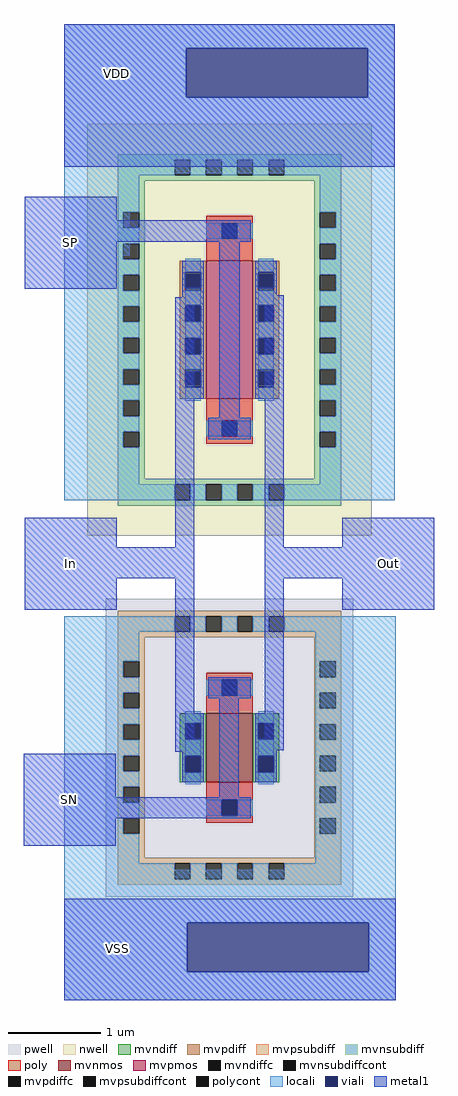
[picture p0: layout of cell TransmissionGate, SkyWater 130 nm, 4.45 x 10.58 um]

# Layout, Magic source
magic
tech sky130B
magscale 1 2
<< locali >>
rect 214 2483 930 2536
rect 214 2377 478 2483
rect 872 2377 930 2483
rect 214 2212 930 2377
rect 214 2156 342 2212
rect 214 2034 356 2156
rect 214 1504 342 2034
rect 802 1504 930 2212
rect 214 702 342 1252
rect 758 702 932 1252
rect 214 587 932 702
rect 214 481 480 587
rect 874 481 932 587
rect 214 420 932 481
<< viali >>
rect 478 2377 872 2483
rect 480 481 874 587
<< metal1 >>
rect 214 2483 930 2536
rect 214 2377 478 2483
rect 872 2377 930 2483
rect 214 2226 930 2377
rect 128 2110 328 2162
rect 128 2064 602 2110
rect 128 1962 328 2064
rect 128 1402 328 1466
rect 454 1402 496 1944
rect 550 1640 594 2064
rect 128 1334 496 1402
rect 128 1266 328 1334
rect 454 958 496 1334
rect 648 1402 690 1948
rect 816 1402 1016 1466
rect 648 1334 1016 1402
rect 126 860 326 954
rect 550 860 592 1112
rect 648 962 690 1334
rect 816 1266 1016 1334
rect 126 814 544 860
rect 126 754 326 814
rect 214 587 932 640
rect 214 481 480 587
rect 874 481 932 587
rect 214 420 932 481
use sky130_fd_pr__nfet_g5v0d10v5_6XHARQ  XM1
transform 1 0 572 0 1 967
box -268 -323 268 323
use sky130_fd_pr__pfet_g5v0d10v5_7EBZY6  XM2
transform 1 0 572 0 1 1873
box -308 -447 308 447
<< labels >>
flabel metal1 s 128 1962 328 2162 0 FreeSans 320 0 0 0 SP
port 1 nsew
flabel metal1 s 228 2328 428 2528 0 FreeSans 320 0 0 0 VDD
port 2 nsew
flabel metal1 s 816 1266 1016 1466 0 FreeSans 320 0 0 0 Out
port 3 nsew
flabel metal1 s 128 1266 328 1466 0 FreeSans 320 0 0 0 In
port 4 nsew
flabel metal1 s 230 432 430 632 0 FreeSans 320 0 0 0 VSS
port 5 nsew
flabel metal1 s 126 754 326 954 0 FreeSans 320 0 0 0 SN
port 6 nsew
<< end >>

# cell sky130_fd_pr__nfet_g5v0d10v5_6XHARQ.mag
magic
tech sky130B
magscale 1 2
<< pwell >>
rect -268 -323 268 323
<< mvnmos >>
rect -50 -75 50 75
<< mvndiff >>
rect -108 51 -50 75
rect -108 17 -96 51
rect -62 17 -50 51
rect -108 -17 -50 17
rect -108 -51 -96 -17
rect -62 -51 -50 -17
rect -108 -75 -50 -51
rect 50 51 108 75
rect 50 17 62 51
rect 96 17 108 51
rect 50 -17 108 17
rect 50 -51 62 -17
rect 96 -51 108 -17
rect 50 -75 108 -51
<< mvndiffc >>
rect -96 17 -62 51
rect -96 -51 -62 -17
rect 62 17 96 51
rect 62 -51 96 -17
<< mvpsubdiff >>
rect -242 285 242 297
rect -242 251 -119 285
rect -85 251 -51 285
rect -17 251 17 285
rect 51 251 85 285
rect 119 251 242 285
rect -242 239 242 251
rect -242 187 -184 239
rect -242 153 -230 187
rect -196 153 -184 187
rect 184 187 242 239
rect -242 119 -184 153
rect -242 85 -230 119
rect -196 85 -184 119
rect -242 51 -184 85
rect 184 153 196 187
rect 230 153 242 187
rect 184 119 242 153
rect 184 85 196 119
rect 230 85 242 119
rect -242 17 -230 51
rect -196 17 -184 51
rect -242 -17 -184 17
rect -242 -51 -230 -17
rect -196 -51 -184 -17
rect -242 -85 -184 -51
rect 184 51 242 85
rect 184 17 196 51
rect 230 17 242 51
rect 184 -17 242 17
rect 184 -51 196 -17
rect 230 -51 242 -17
rect -242 -119 -230 -85
rect -196 -119 -184 -85
rect -242 -153 -184 -119
rect -242 -187 -230 -153
rect -196 -187 -184 -153
rect 184 -85 242 -51
rect 184 -119 196 -85
rect 230 -119 242 -85
rect 184 -153 242 -119
rect -242 -239 -184 -187
rect 184 -187 196 -153
rect 230 -187 242 -153
rect 184 -239 242 -187
rect -242 -251 242 -239
rect -242 -285 -119 -251
rect -85 -285 -51 -251
rect -17 -285 17 -251
rect 51 -285 85 -251
rect 119 -285 242 -251
rect -242 -297 242 -285
<< mvpsubdiffcont >>
rect -119 251 -85 285
rect -51 251 -17 285
rect 17 251 51 285
rect 85 251 119 285
rect -230 153 -196 187
rect -230 85 -196 119
rect 196 153 230 187
rect 196 85 230 119
rect -230 17 -196 51
rect -230 -51 -196 -17
rect 196 17 230 51
rect 196 -51 230 -17
rect -230 -119 -196 -85
rect -230 -187 -196 -153
rect 196 -119 230 -85
rect 196 -187 230 -153
rect -119 -285 -85 -251
rect -51 -285 -17 -251
rect 17 -285 51 -251
rect 85 -285 119 -251
<< poly >>
rect -50 147 50 163
rect -50 113 -17 147
rect 17 113 50 147
rect -50 75 50 113
rect -50 -113 50 -75
rect -50 -147 -17 -113
rect 17 -147 50 -113
rect -50 -163 50 -147
<< polycont >>
rect -17 113 17 147
rect -17 -147 17 -113
<< locali >>
rect -230 251 -119 285
rect -85 251 -51 285
rect -17 251 17 285
rect 51 251 85 285
rect 119 251 230 285
rect -230 187 -196 251
rect -230 119 -196 153
rect 196 187 230 251
rect -50 113 -17 147
rect 17 113 50 147
rect 196 119 230 153
rect -230 51 -196 85
rect -230 -17 -196 17
rect -230 -85 -196 -51
rect -96 53 -62 79
rect -96 -17 -62 17
rect -96 -79 -62 -53
rect 62 53 96 79
rect 62 -17 96 17
rect 62 -79 96 -53
rect 196 51 230 85
rect 196 -17 230 17
rect 196 -85 230 -51
rect -230 -153 -196 -119
rect -50 -147 -17 -113
rect 17 -147 50 -113
rect -230 -251 -196 -187
rect 196 -153 230 -119
rect 196 -251 230 -187
rect -230 -285 -119 -251
rect -85 -285 -51 -251
rect -17 -285 17 -251
rect 51 -285 85 -251
rect 119 -285 230 -251
<< viali >>
rect -17 113 17 147
rect -96 51 -62 53
rect -96 19 -62 51
rect -96 -51 -62 -19
rect -96 -53 -62 -51
rect 62 51 96 53
rect 62 19 96 51
rect 62 -51 96 -19
rect 62 -53 96 -51
rect -17 -147 17 -113
<< metal1 >>
rect -46 147 46 153
rect -46 113 -17 147
rect 17 113 46 147
rect -46 107 46 113
rect -102 53 -56 75
rect -102 19 -96 53
rect -62 19 -56 53
rect -102 -19 -56 19
rect -102 -53 -96 -19
rect -62 -53 -56 -19
rect -102 -75 -56 -53
rect 56 53 102 75
rect 56 19 62 53
rect 96 19 102 53
rect 56 -19 102 19
rect 56 -53 62 -19
rect 96 -53 102 -19
rect 56 -75 102 -53
rect -46 -113 46 -107
rect -46 -147 -17 -113
rect 17 -147 46 -113
rect -46 -153 46 -147
<< properties >>
string FIXED_BBOX -213 -268 213 268
<< end >>

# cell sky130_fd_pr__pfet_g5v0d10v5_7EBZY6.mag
magic
tech sky130B
magscale 1 2
<< nwell >>
rect -308 -447 308 447
<< mvpmos >>
rect -50 -150 50 150
<< mvpdiff >>
rect -108 119 -50 150
rect -108 85 -96 119
rect -62 85 -50 119
rect -108 51 -50 85
rect -108 17 -96 51
rect -62 17 -50 51
rect -108 -17 -50 17
rect -108 -51 -96 -17
rect -62 -51 -50 -17
rect -108 -85 -50 -51
rect -108 -119 -96 -85
rect -62 -119 -50 -85
rect -108 -150 -50 -119
rect 50 119 108 150
rect 50 85 62 119
rect 96 85 108 119
rect 50 51 108 85
rect 50 17 62 51
rect 96 17 108 51
rect 50 -17 108 17
rect 50 -51 62 -17
rect 96 -51 108 -17
rect 50 -85 108 -51
rect 50 -119 62 -85
rect 96 -119 108 -85
rect 50 -150 108 -119
<< mvpdiffc >>
rect -96 85 -62 119
rect -96 17 -62 51
rect -96 -51 -62 -17
rect -96 -119 -62 -85
rect 62 85 96 119
rect 62 17 96 51
rect 62 -51 96 -17
rect 62 -119 96 -85
<< mvnsubdiff >>
rect -242 369 242 381
rect -242 335 -119 369
rect -85 335 -51 369
rect -17 335 17 369
rect 51 335 85 369
rect 119 335 242 369
rect -242 323 242 335
rect -242 255 -184 323
rect -242 221 -230 255
rect -196 221 -184 255
rect 184 255 242 323
rect -242 187 -184 221
rect -242 153 -230 187
rect -196 153 -184 187
rect -242 119 -184 153
rect 184 221 196 255
rect 230 221 242 255
rect 184 187 242 221
rect 184 153 196 187
rect 230 153 242 187
rect -242 85 -230 119
rect -196 85 -184 119
rect -242 51 -184 85
rect -242 17 -230 51
rect -196 17 -184 51
rect -242 -17 -184 17
rect -242 -51 -230 -17
rect -196 -51 -184 -17
rect -242 -85 -184 -51
rect -242 -119 -230 -85
rect -196 -119 -184 -85
rect -242 -153 -184 -119
rect 184 119 242 153
rect 184 85 196 119
rect 230 85 242 119
rect 184 51 242 85
rect 184 17 196 51
rect 230 17 242 51
rect 184 -17 242 17
rect 184 -51 196 -17
rect 230 -51 242 -17
rect 184 -85 242 -51
rect 184 -119 196 -85
rect 230 -119 242 -85
rect -242 -187 -230 -153
rect -196 -187 -184 -153
rect -242 -221 -184 -187
rect -242 -255 -230 -221
rect -196 -255 -184 -221
rect 184 -153 242 -119
rect 184 -187 196 -153
rect 230 -187 242 -153
rect 184 -221 242 -187
rect -242 -323 -184 -255
rect 184 -255 196 -221
rect 230 -255 242 -221
rect 184 -323 242 -255
rect -242 -335 242 -323
rect -242 -369 -119 -335
rect -85 -369 -51 -335
rect -17 -369 17 -335
rect 51 -369 85 -335
rect 119 -369 242 -335
rect -242 -381 242 -369
<< mvnsubdiffcont >>
rect -119 335 -85 369
rect -51 335 -17 369
rect 17 335 51 369
rect 85 335 119 369
rect -230 221 -196 255
rect -230 153 -196 187
rect 196 221 230 255
rect 196 153 230 187
rect -230 85 -196 119
rect -230 17 -196 51
rect -230 -51 -196 -17
rect -230 -119 -196 -85
rect 196 85 230 119
rect 196 17 230 51
rect 196 -51 230 -17
rect 196 -119 230 -85
rect -230 -187 -196 -153
rect -230 -255 -196 -221
rect 196 -187 230 -153
rect 196 -255 230 -221
rect -119 -369 -85 -335
rect -51 -369 -17 -335
rect 17 -369 51 -335
rect 85 -369 119 -335
<< poly >>
rect -50 231 50 247
rect -50 197 -17 231
rect 17 197 50 231
rect -50 150 50 197
rect -50 -197 50 -150
rect -50 -231 -17 -197
rect 17 -231 50 -197
rect -50 -247 50 -231
<< polycont >>
rect -17 197 17 231
rect -17 -231 17 -197
<< locali >>
rect -230 335 -119 369
rect -85 335 -51 369
rect -17 335 17 369
rect 51 335 85 369
rect 119 335 230 369
rect -230 255 -196 335
rect 196 255 230 335
rect -230 187 -196 221
rect -50 197 -17 231
rect 17 197 50 231
rect 196 187 230 221
rect -230 119 -196 153
rect -230 51 -196 85
rect -230 -17 -196 17
rect -230 -85 -196 -51
rect -230 -153 -196 -119
rect -96 125 -62 154
rect -96 53 -62 85
rect -96 -17 -62 17
rect -96 -85 -62 -53
rect -96 -154 -62 -125
rect 62 125 96 154
rect 62 53 96 85
rect 62 -17 96 17
rect 62 -85 96 -53
rect 62 -154 96 -125
rect 196 119 230 153
rect 196 51 230 85
rect 196 -17 230 17
rect 196 -85 230 -51
rect 196 -153 230 -119
rect -230 -221 -196 -187
rect -50 -231 -17 -197
rect 17 -231 50 -197
rect 196 -221 230 -187
rect -230 -335 -196 -255
rect 196 -335 230 -255
rect -230 -369 -119 -335
rect -85 -369 -51 -335
rect -17 -369 17 -335
rect 51 -369 85 -335
rect 119 -369 230 -335
<< viali >>
rect -17 197 17 231
rect -96 119 -62 125
rect -96 91 -62 119
rect -96 51 -62 53
rect -96 19 -62 51
rect -96 -51 -62 -19
rect -96 -53 -62 -51
rect -96 -119 -62 -91
rect -96 -125 -62 -119
rect 62 119 96 125
rect 62 91 96 119
rect 62 51 96 53
rect 62 19 96 51
rect 62 -51 96 -19
rect 62 -53 96 -51
rect 62 -119 96 -91
rect 62 -125 96 -119
rect -17 -231 17 -197
<< metal1 >>
rect -46 231 46 237
rect -46 197 -17 231
rect 17 197 46 231
rect -46 191 46 197
rect -102 125 -56 150
rect -102 91 -96 125
rect -62 91 -56 125
rect -102 53 -56 91
rect -102 19 -96 53
rect -62 19 -56 53
rect -102 -19 -56 19
rect -102 -53 -96 -19
rect -62 -53 -56 -19
rect -102 -91 -56 -53
rect -102 -125 -96 -91
rect -62 -125 -56 -91
rect -102 -150 -56 -125
rect 56 125 102 150
rect 56 91 62 125
rect 96 91 102 125
rect 56 53 102 91
rect 56 19 62 53
rect 96 19 102 53
rect 56 -19 102 19
rect 56 -53 62 -19
rect 96 -53 102 -19
rect 56 -91 102 -53
rect 56 -125 62 -91
rect 96 -125 102 -91
rect 56 -150 102 -125
rect -46 -197 46 -191
rect -46 -231 -17 -197
rect 17 -231 46 -197
rect -46 -237 46 -231
<< properties >>
string FIXED_BBOX -213 -352 213 352
<< end >>
